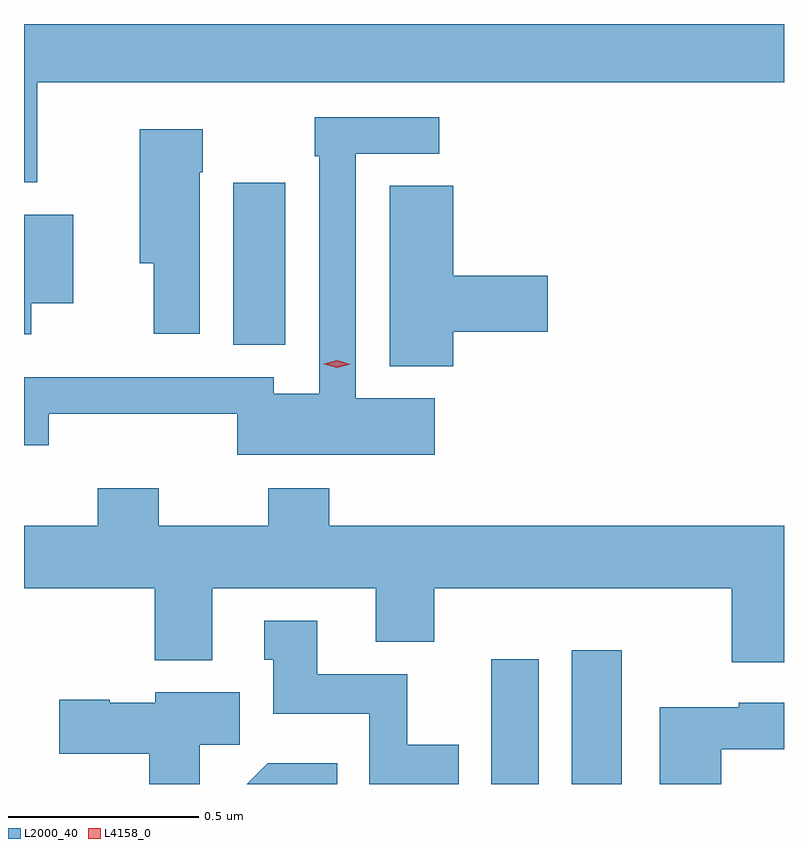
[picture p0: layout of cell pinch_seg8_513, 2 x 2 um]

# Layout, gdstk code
import gdstk
lib = gdstk.Library(unit=1e-6, precision=1e-09)
def R(c, l, rs):  # rectangles x0, y0, x1, y1
    for r in rs: c.add(gdstk.rectangle(r[:2], r[2:], *l))
def P(c, l, *ps):  # polygons
    for p in ps: c.add(gdstk.Polygon(p, *l))
L2000_40 = (2000, 40)
L4158_0 = (4158, 0)

pinch_seg8_513 = lib.new_cell('pinch_seg8_513')
R(pinch_seg8_513, L2000_40, [(211.538,1114.653,211.663,1114.981), (211.751,1114.653,211.882,1115.005), (210.86,1115.809,210.997,1116.235)])
P(pinch_seg8_513, L2000_40, [(210.344,1116.5),(212.309,1116.5),(212.309,1116.653),(210.309,1116.653),(210.309,1116.237),(210.344,1116.237)],
  [(211.39,1115.668),(211.182,1115.668),(211.182,1116.312),(211.402,1116.312),(211.402,1116.408),(211.074,1116.408),(211.074,1116.305),(211.086,1116.305),(211.086,1115.68),(210.966,1115.68),(210.966,1115.724),(210.309,1115.724),(210.309,1115.544),(210.374,1115.544),(210.374,1115.627),(210.87,1115.627),(210.87,1115.519),(211.39,1115.519)],
  [(210.772,1116.263),(210.78,1116.263),(210.78,1116.376),(210.614,1116.376),(210.614,1116.023),(210.65,1116.023),(210.65,1115.838),(210.772,1115.838)],
  [(211.438,1115.843),(211.687,1115.843),(211.687,1115.99),(211.438,1115.99),(211.438,1116.227),(211.271,1116.227),(211.271,1115.753),(211.438,1115.753)],
  [(210.328,1115.918),(210.439,1115.918),(210.439,1116.151),(210.309,1116.151),(210.309,1115.837),(210.328,1115.837)],
  [(210.503,1115.431),(210.503,1115.332),(210.309,1115.332),(210.309,1115.168),(210.653,1115.168),(210.653,1114.979),(210.805,1114.979),(210.805,1115.168),(211.235,1115.168),(211.235,1115.027),(211.388,1115.027),(211.388,1115.168),(212.171,1115.168),(212.171,1114.974),(212.309,1114.974),(212.309,1115.332),(211.112,1115.332),(211.112,1115.431),(210.952,1115.431),(210.952,1115.332),(210.663,1115.332),(210.663,1115.431)],
  [(211.453,1114.756),(211.317,1114.756),(211.317,1114.942),(211.081,1114.942),(211.081,1115.083),(210.941,1115.083),(210.941,1114.98),(210.965,1114.98),(210.965,1114.838),(211.218,1114.838),(211.218,1114.653),(211.453,1114.653)],
  [(210.772,1114.756),(210.877,1114.756),(210.877,1114.894),(210.654,1114.894),(210.654,1114.867),(210.534,1114.867),(210.534,1114.875),(210.402,1114.875),(210.402,1114.733),(210.638,1114.733),(210.638,1114.653),(210.772,1114.653)],
  [(212.144,1114.745),(212.309,1114.745),(212.309,1114.867),(212.19,1114.867),(212.19,1114.855),(211.982,1114.855),(211.982,1114.653),(212.144,1114.653)],
  [(211.133,1114.708),(210.95,1114.708),(210.895,1114.653),(211.133,1114.653)])
P(pinch_seg8_513, L4158_0, [(211.133,1115.748),(211.099,1115.758),(211.098,1115.758),(211.099,1115.759),(211.133,1115.768),(211.168,1115.758),(211.168,1115.757),(211.168,1115.757)])

lib.write_gds('pinch_seg8_513.gds')
